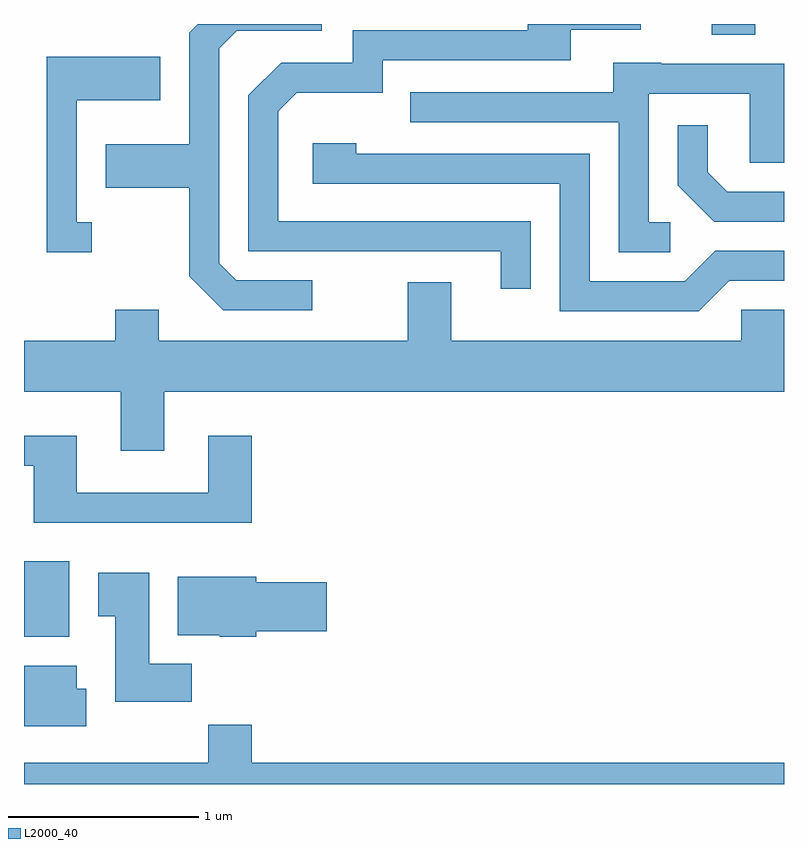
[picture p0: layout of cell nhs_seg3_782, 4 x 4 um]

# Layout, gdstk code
import gdstk
lib = gdstk.Library(unit=1e-6, precision=1e-09)
def R(c, l, rs):  # rectangles x0, y0, x1, y1
    for r in rs: c.add(gdstk.rectangle(r[:2], r[2:], *l))
def P(c, l, *ps):  # polygons
    for p in ps: c.add(gdstk.Polygon(p, *l))
L2000_40 = (2000, 40)

nhs_seg3_782 = lib.new_cell('nhs_seg3_782')
R(nhs_seg3_782, L2000_40, [(207.611,1184.666,207.849,1185.064), (211.231,1187.836,211.459,1187.892)])
P(nhs_seg3_782, L2000_40, [(209.128,1186.544),(208.727,1186.544),(208.639,1186.632),(208.639,1187.764),(208.732,1187.856),(209.178,1187.856),(209.178,1187.892),(208.526,1187.892),(208.481,1187.847),(208.481,1187.259),(208.041,1187.259),(208.041,1187.031),(208.481,1187.031),(208.481,1186.564),(208.659,1186.386),(209.128,1186.386)],
  [(210.279,1186.854),(208.949,1186.854),(208.949,1187.434),(209.047,1187.531),(209.499,1187.531),(209.499,1187.701),(210.489,1187.701),(210.489,1187.861),(210.858,1187.861),(210.858,1187.892),(210.261,1187.892),(210.261,1187.859),(209.341,1187.859),(209.341,1187.689),(208.964,1187.689),(208.791,1187.517),(208.791,1186.696),(210.121,1186.696),(210.121,1186.498),(210.279,1186.498)],
  [(207.968,1186.849),(207.889,1186.849),(207.889,1187.491),(208.329,1187.491),(208.329,1187.719),(207.731,1187.719),(207.731,1186.691),(207.968,1186.691)],
  [(211.013,1186.849),(210.899,1186.849),(210.899,1187.526),(211.431,1187.526),(211.431,1187.161),(211.611,1187.161),(211.611,1187.684),(210.965,1187.684),(210.965,1187.689),(210.711,1187.689),(210.711,1187.534),(209.643,1187.534),(209.643,1187.376),(210.741,1187.376),(210.741,1186.691),(211.013,1186.691)],
  [(211.611,1187.009),(211.312,1187.009),(211.209,1187.112),(211.209,1187.358),(211.051,1187.358),(211.051,1187.044),(211.244,1186.851),(211.611,1186.851)],
  [(211.322,1186.541),(211.611,1186.541),(211.611,1186.699),(211.249,1186.699),(211.089,1186.539),(210.589,1186.539),(210.589,1187.209),(209.359,1187.209),(209.359,1187.264),(209.131,1187.264),(209.131,1187.051),(210.431,1187.051),(210.431,1186.381),(211.162,1186.381)],
  [(208.349,1185.956),(211.611,1185.956),(211.611,1186.389),(211.386,1186.389),(211.386,1186.224),(209.859,1186.224),(209.859,1186.534),(209.631,1186.534),(209.631,1186.224),(208.319,1186.224),(208.319,1186.389),(208.091,1186.389),(208.091,1186.224),(207.611,1186.224),(207.611,1185.956),(208.121,1185.956),(208.121,1185.646),(208.349,1185.646)],
  [(208.809,1185.724),(208.581,1185.724),(208.581,1185.424),(207.889,1185.424),(207.889,1185.724),(207.611,1185.724),(207.611,1185.566),(207.661,1185.566),(207.661,1185.266),(208.809,1185.266)],
  [(208.494,1184.524),(208.269,1184.524),(208.269,1185.004),(208.001,1185.004),(208.001,1184.776),(208.091,1184.776),(208.091,1184.326),(208.494,1184.326)],
  [(208.834,1184.696),(209.204,1184.696),(209.204,1184.954),(208.834,1184.954),(208.834,1184.984),(208.421,1184.984),(208.421,1184.676),(208.64,1184.676),(208.64,1184.666),(208.834,1184.666)],
  [(207.939,1184.394),(207.889,1184.394),(207.889,1184.514),(207.611,1184.514),(207.611,1184.196),(207.939,1184.196)],
  [(211.611,1184.004),(208.809,1184.004),(208.809,1184.204),(208.581,1184.204),(208.581,1184.004),(207.611,1184.004),(207.611,1183.892),(211.611,1183.892)])

lib.write_gds('nhs_seg3_782.gds')
